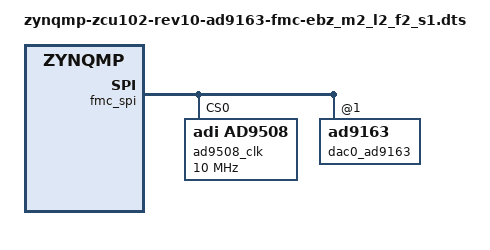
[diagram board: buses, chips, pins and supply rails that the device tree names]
// SPDX-License-Identifier: GPL-2.0
/*
 * AD9163-FMC-EBZ on Xilinx ZynqMP ZCU102 Rev 1.0
 *
 * JESD Custom Link Mode 2 Example: M2, L2, S4, F2,  NP'16, Interpolation: 8
 * This Mode 2, works only with an external clock source. Remove J61 and
 * connect an external clock source of 120 MHz, with 14.0 dBm amplitude.
 *
 * https://analogdevicesinc.github.io/hdl/projects/dac_fmc_ebz/index.html
 *
 * hdl_project: <dac_fmc_ebz/zcu102>
 * ADI_DAC_DEVICE: <AD9163>
 * ADI_LANE_RATE: <12.5>
 * ADI_DAC_MODE: <08>
 * board_revision: E
 *
 * Copyright (C) 2025 Analog Devices Inc.
 */

#include "zynqmp-zcu102-rev10-ad9163-fmc-ebz_m2_l8.dts"

&fmc_spi {
    ad9508_clk: ad9508@0 {
		#address-cells = <1>;
		#size-cells = <0>;
		#clock-cells = <1>;
		compatible = "adi,ad9508";
		reg = <0>;
		spi-cpol;
		spi-cpha;

		clocks = <&ad9508_clkin>;

		spi-max-frequency = <10000000>;
		clock-output-names = "ad9508-1_out0", "ad9508-1_out1", "ad9508-1_out2", "ad9508-1_out3";
		jesd204-device;
		adi,write-mode-only;
		#jesd204-cells = <2>;
		jesd204-sysref-provider;

		ad9508_0_c0:channel@0 {
			reg = <0>;
			adi,extended-name = "REF_CLK";
			adi,driver-mode = <(DRIVER_PHASE_NORMAL | DRIVER_MODE_LVDS_1_00)>;
			adi,divider-phase = <0>;
			adi,channel-divider = <4>;
		};

		ad9508_0_c2:channel@2 {
			reg = <2>;
			adi,extended-name = "SYSREF2";
			adi,driver-mode = <(DRIVER_PHASE_NORMAL | DRIVER_MODE_LVDS_1_00)>;
			adi,divider-phase = <0>;
			adi,channel-divider = <64>;
		};

		ad9508_0_c3:channel@3 {
			reg = <3>;
			adi,extended-name = "SYSREF";
			adi,driver-mode = <(DRIVER_PHASE_NORMAL | DRIVER_MODE_LVDS_1_00)>;
			adi,divider-phase = <0>;
			adi,channel-divider = <64>;
		};
	};

	dac0_ad9163: ad9163@1 {
		adi,octets-per-frame = <2>;		/* JESD F */
		adi,lanes-per-device = <2>;		/* JESD L */
		adi,samples-per-converter-per-frame = <1>; /* JESD S */
		adi,interpolation = <8>;
	};
};

/ {
	fpga_axi: fpga-axi@0 {
		axi_ad9163_adxcvr: axi-adxcvr-tx@84a60000 {
			adi,sys-clk-select = <XCVR_QPLL>;
			adi,out-clk-select = <XCVR_REFCLK>;
		};
	};
};
